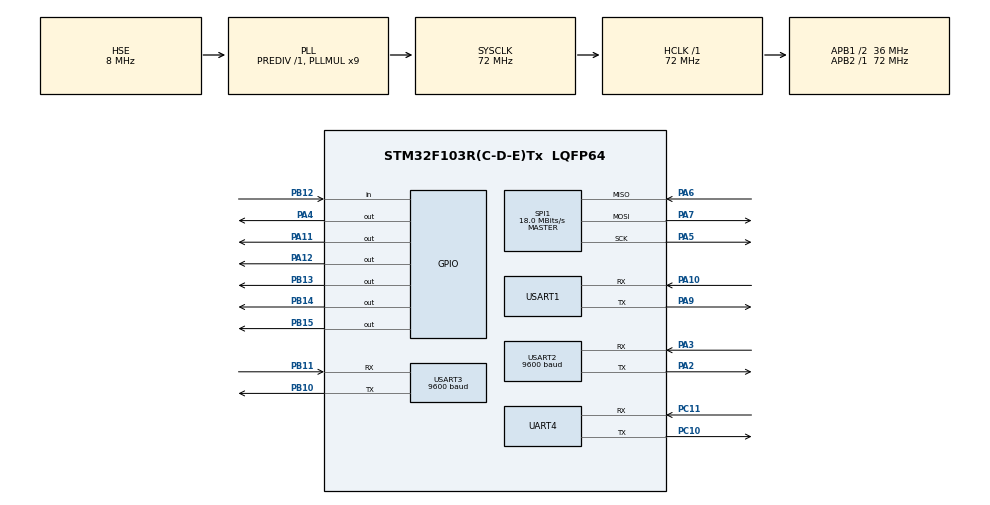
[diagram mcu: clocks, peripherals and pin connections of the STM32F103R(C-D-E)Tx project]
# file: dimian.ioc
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Mcu.Family=STM32F1
Mcu.Name=STM32F103R(C-D-E)Tx
Mcu.Package=LQFP64
NVIC.PriorityGroup=NVIC_PRIORITYGROUP_4
NVIC.TIM2_IRQn=true\:0\:0\:false\:false\:true\:true
NVIC.UART4_IRQn=true\:1\:0\:true\:false\:true\:true
NVIC.USART1_IRQn=true\:1\:0\:true\:false\:true\:true
NVIC.USART2_IRQn=true\:0\:0\:true\:false\:true\:true
NVIC.USART3_IRQn=true\:1\:0\:true\:false\:true\:true
PA10.Mode=Asynchronous
PA10.Signal=USART1_RX
PA11.PinState=GPIO_PIN_SET
PA11.Signal=GPIO_Output
PA12.Signal=GPIO_Output
PA13.Mode=Serial_Wire
PA13.Signal=SYS_JTMS-SWDIO
PA14.Mode=Serial_Wire
PA14.Signal=SYS_JTCK-SWCLK
PA2.Mode=Asynchronous
PA2.Signal=USART2_TX
PA3.Mode=Asynchronous
PA3.Signal=USART2_RX
PA4.Signal=GPIO_Output
PA5.Mode=Full_Duplex_Master
PA5.Signal=SPI1_SCK
PA6.Mode=Full_Duplex_Master
PA6.Signal=SPI1_MISO
PA7.Mode=Full_Duplex_Master
PA7.Signal=SPI1_MOSI
PA9.Mode=Asynchronous
PA9.Signal=USART1_TX
PB10.Mode=Asynchronous
PB10.Signal=USART3_TX
PB11.Mode=Asynchronous
PB11.Signal=USART3_RX
PB12.Signal=GPIO_Input
PB13.Signal=GPIO_Output
PB14.Signal=GPIO_Output
PB15.GPIO_PuPd=GPIO_NOPULL
PB15.PinState=GPIO_PIN_SET
PB15.Signal=GPIO_Output
PC10.Mode=Asynchronous
PC10.Signal=UART4_TX
PC11.Mode=Asynchronous
PC11.Signal=UART4_RX
PD0-OSC_IN.Mode=HSE-External-Oscillator
PD0-OSC_IN.Signal=RCC_OSC_IN
PD1-OSC_OUT.Mode=HSE-External-Oscillator
PD1-OSC_OUT.Signal=RCC_OSC_OUT
ProjectManager.HeapSize=0x200
ProjectManager.StackSize=0x400
ProjectManager.TargetToolchain=EWARM V7
RCC.AHBFreq_Value=72000000
RCC.APB1CLKDivider=RCC_HCLK_DIV2
RCC.APB1Freq_Value=36000000
RCC.APB1TimFreq_Value=72000000
RCC.APB2Freq_Value=72000000
RCC.APB2TimFreq_Value=72000000
RCC.HCLKFreq_Value=72000000
RCC.PLLMUL=RCC_PLL_MUL9
RCC.PLLSourceVirtual=RCC_PLLSOURCE_HSE
RCC.SYSCLKFreq_VALUE=72000000
RCC.SYSCLKSource=RCC_SYSCLKSOURCE_PLLCLK
RCC.USBFreq_Value=72000000
SPI1.BaudRatePrescaler=SPI_BAUDRATEPRESCALER_4
SPI1.CalculateBaudRate=18.0 MBits/s
SPI1.Direction=SPI_DIRECTION_2LINES
SPI1.Mode=SPI_MODE_MASTER
SPI1.VirtualType=VM_MASTER
TIM2.Period=1000-1
TIM2.Prescaler=72-1
UART4.VirtualMode=Asynchronous
USART1.VirtualMode=VM_ASYNC
USART2.BaudRate=9600
USART2.VirtualMode=VM_ASYNC
USART3.BaudRate=9600
USART3.VirtualMode=VM_ASYNC
VP_TIM2_VS_ClockSourceINT.Mode=Internal
board=custom

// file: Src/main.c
/**
  ******************************************************************************
  * @file           : main.c
  * @brief          : Main program body
  ******************************************************************************
  ** This notice applies to any and all portions of this file
  * that are not between comment pairs USER CODE BEGIN and
  * USER CODE END. Other portions of this file, whether
  * inserted by the user or by software development tools
  * are owned by their respective copyright owners.
  *
  * COPYRIGHT(c) 2018 STMicroelectronics
  *
  * Redistribution and use in source and binary forms, with or without modification,
  * are permitted provided that the following conditions are met:
  *   1. Redistributions of source code must retain the above copyright notice,
  *      this list of conditions and the following disclaimer.
  *   2. Redistributions in binary form must reproduce the above copyright notice,
  *      this list of conditions and the following disclaimer in the documentation
  *      and/or other materials provided with the distribution.
  *   3. Neither the name of STMicroelectronics nor the names of its contributors
  *      may be used to endorse or promote products derived from this software
  *      without specific prior written permission.
  *
  * THIS SOFTWARE IS PROVIDED BY THE COPYRIGHT HOLDERS AND CONTRIBUTORS "AS IS"
  * AND ANY EXPRESS OR IMPLIED WARRANTIES, INCLUDING, BUT NOT LIMITED TO, THE
  * IMPLIED WARRANTIES OF MERCHANTABILITY AND FITNESS FOR A PARTICULAR PURPOSE ARE
  * DISCLAIMED. IN NO EVENT SHALL THE COPYRIGHT HOLDER OR CONTRIBUTORS BE LIABLE
  * FOR ANY DIRECT, INDIRECT, INCIDENTAL, SPECIAL, EXEMPLARY, OR CONSEQUENTIAL
  * DAMAGES (INCLUDING, BUT NOT LIMITED TO, PROCUREMENT OF SUBSTITUTE GOODS OR
  * SERVICES; LOSS OF USE, DATA, OR PROFITS; OR BUSINESS INTERRUPTION) HOWEVER
  * CAUSED AND ON ANY THEORY OF LIABILITY, WHETHER IN CONTRACT, STRICT LIABILITY,
  * OR TORT (INCLUDING NEGLIGENCE OR OTHERWISE) ARISING IN ANY WAY OUT OF THE USE
  * OF THIS SOFTWARE, EVEN IF ADVISED OF THE POSSIBILITY OF SUCH DAMAGE.
  *
  ******************************************************************************
  */
#include "main.h"
#include "stm32f1xx_hal.h"
#include "spi.h"
#include "tim.h"
#include "usart.h"
#include "gpio.h"

/* USER CODE BEGIN Includes */
#define u8 uint8_t
#define u16 uint16_t
#define u32 uint32_t
#include "w5500.h"
#include "tcp_demo.h"
#include "w5500_conf.h"
#include "socket.h"
#include "utility.h"
#include "dhcp.h"

/* USER CODE END Includes */

/* USER CODE BEGIN PV */
/* Private variables ---------------------------------------------------------*/

/* USER CODE END PV */

void SystemClock_Config(void);

/* USER CODE BEGIN PFP */
/* Private function prototypes -----------------------------------------------*/

/* USER CODE END PFP */

/* USER CODE BEGIN 0 */
void HM_TRP_Init(void);
void HM_TRP_uart_Init(void);
void HM_TRP_send_Init(void);
void HM_TRP_rank_Init(void);
uint8_t   Com1_Rxbuff[1024];  //串口接收数组
uint16_t  Com1_Counter=0;     //接收计数
uint16_t  Com1_TxCounter=0;   //发送计数
uint8_t   Com2_Rxbuff[1024];  //串口接收数组
uint16_t  Com2_Counter=0;     //接收计数
uint16_t  Com2_TxCounter=0;   //发送计数
uint8_t   Com3_Rxbuff[1024];  //串口接收数组
uint16_t  Com3_Counter=0;     //接收计数
uint16_t  Com3_TxCounter=0;   //发送计数
uint8_t   Com4_Rxbuff[1024];  //串口接收数组
uint16_t  Com4_Counter=0;     //接收计数
uint16_t  Com4_TxCounter=0;   //发送计数
uint8_t aRxStartMessages_1[1];
uint8_t aRxStartMessages_2[1];
uint8_t aRxStartMessages_3[1];
uint8_t aRxStartMessages_4[1];
uint8_t config[]={0xAA,0xFA,0x87};
uint8_t set_uart_speed[]={0xAA,0xFA,0x1E,0x00,0x01,0xC2,0x00};//设置电台串口波特率为38400
uint8_t set_send_speed[]={0xAA,0xFA,0xC3,0x00,0x00,0x25,0x80};//设置无线传输数率为38400
uint8_t set_rank_915[]={0xAA,0xFA,0xD2,0x36,0x89,0xCA,0xC0};//设置工作频率为915000000HZ
uint8_t set_rank_434[]={0xAA,0xFA,0xD2,0x19,0xDE,0x50,0x80};//设置工作频率为434000000HZ
uint8_t read_config[]={0xAA,0xFA,0xE1};
uint8_t reset[]={0xAA,0xFA,0xF0};
/*
int fputc(int ch, FILE *f)
{
	//HAL_UART_Transmit(&huart5, (uint8_t *)&ch, 1, 0xffff);
    while((USART1->SR&0X40)==0);
        USART1->DR = (uint8_t) ch;
	return ch;
}
*/
int fputc(int ch, FILE *f)
{
  HAL_UART_Transmit(&huart1, (uint8_t *)&ch, 1, 0xffff);
  return ch;
}

/* USER CODE END 0 */

int main(void)
{

  /* MCU Configuration----------------------------------------------------------*/

  /* Reset of all peripherals, Initializes the Flash interface and the Systick. */
  HAL_Init();

  /* Configure the system clock */
  SystemClock_Config();

  /* Initialize all configured peripherals */
  MX_GPIO_Init();
  MX_SPI1_Init();
  MX_USART1_UART_Init();
  MX_USART2_UART_Init();
  MX_USART3_UART_Init();
  MX_UART4_Init();
  MX_TIM2_Init();
  /* USER CODE BEGIN 2 */

//  int i=0;
       printf(" W5500网络通信测试 Demo V1.0 \r\n");
        reset_w5500();                     /* W5500硬件复位 */
	set_w5500_mac();										/*配置MAC地址*/
	set_w5500_ip();											/*配置IP地址*/

	socket_buf_init(txsize, rxsize);		/*初始化8个Socket的发送接收缓存大小*/

        printf(" 电脑作为TCP服务器,让W5500作为 TCP客户端去连接 \n");
	printf(" 服务器IP:%d.%d.%d.%d\n",remote_ip[0],remote_ip[1],remote_ip[2],remote_ip[3]);
	printf(" 监听端口:%d \n",remote_port);
	printf(" 连接成功后，服务器发送数据给W5500，W5500将返回对应数据 \n");
	printf(" 应用程序执行中……\n");										/*配置IP地址*/

	socket_buf_init(txsize, rxsize);		/*初始化8个Socket的发送接收缓存大小*/
        HAL_UART_Receive_IT(&huart1 ,(uint8_t*)aRxStartMessages_1,1);  //使能UART接收
        HAL_UART_Receive_IT(&huart2 ,(uint8_t*)aRxStartMessages_1,1);
        HAL_UART_Receive_IT(&huart3 ,(uint8_t*)aRxStartMessages_1,1);
        HAL_UART_Receive_IT(&huart4 ,(uint8_t*)aRxStartMessages_1,1);
        HM_TRP_Init();//电台模块初始化
        //HAL_GPIO_WritePin(GPIOB, GPIO_PIN_15, GPIO_PIN_RESET); //电台2进入配置模式
       // HAL_GPIO_WritePin(GPIOA, GPIO_PIN_11, GPIO_PIN_RESET); //电台1进入配置模式
        int i=0;
  /* USER CODE END 2 */

  /* Infinite loop */
  /* USER CODE BEGIN WHILE */
  while (1)
  {
      do_udp();
    //do_tcp_client();
   //  HAL_UART_Transmit_IT(&huart2 ,read_config,sizeof(read_config));
    // HAL_UART_Transmit_IT(&huart2 ,reset,sizeof(reset));
    //HAL_UART_Transmit_IT(&huart3 ,reset,sizeof(reset));
//       HAL_Delay(2000);
//    if(Com4_Counter>0)
//    {
//      HAL_UART_Transmit_IT(&huart3 ,Com4_Rxbuff,Com4_Counter);
//      memset(Com4_Rxbuff,0,sizeof(Com4_Rxbuff));
//      Com4_Counter = 0;
//    }
//
//     if(Com2_Counter>0)
//     {
//
//       printf("%s",Com2_Rxbuff);
//       memset(Com2_Rxbuff,0,sizeof(Com2_Rxbuff));
//      printf("\r\n");
//      Com2_Counter=0;
//     }
    /*
    HAL_Delay(500);
   HAL_UART_Transmit_IT(&huart3 ,read_config,sizeof(read_config));

    if(Com3_Counter>0)
     {
      for(i=0;i<Com3_Counter;i++)
       printf("%02X ",Com3_Rxbuff[i]);
       memset(Com3_Rxbuff,0,sizeof(Com3_Rxbuff));
      printf("\r\n");
      Com3_Counter=0;
     }
 */
  /* USER CODE END WHILE */

  }

}

void SystemClock_Config(void)
{

  RCC_OscInitTypeDef RCC_OscInitStruct;
  RCC_ClkInitTypeDef RCC_ClkInitStruct;

    /**Initializes the CPU, AHB and APB busses clocks
    */
  RCC_OscInitStruct.OscillatorType = RCC_OSCILLATORTYPE_HSE;
  RCC_OscInitStruct.HSEState = RCC_HSE_ON;
  RCC_OscInitStruct.HSEPredivValue = RCC_HSE_PREDIV_DIV1;
  RCC_OscInitStruct.HSIState = RCC_HSI_ON;
  RCC_OscInitStruct.PLL.PLLState = RCC_PLL_ON;
  RCC_OscInitStruct.PLL.PLLSource = RCC_PLLSOURCE_HSE;
  RCC_OscInitStruct.PLL.PLLMUL = RCC_PLL_MUL9;
  if (HAL_RCC_OscConfig(&RCC_OscInitStruct) != HAL_OK)
  {
    _Error_Handler(__FILE__, __LINE__);
  }

    /**Initializes the CPU, AHB and APB busses clocks
    */
  RCC_ClkInitStruct.ClockType = RCC_CLOCKTYPE_HCLK|RCC_CLOCKTYPE_SYSCLK
                              |RCC_CLOCKTYPE_PCLK1|RCC_CLOCKTYPE_PCLK2;
  RCC_ClkInitStruct.SYSCLKSource = RCC_SYSCLKSOURCE_PLLCLK;
  RCC_ClkInitStruct.AHBCLKDivider = RCC_SYSCLK_DIV1;
  RCC_ClkInitStruct.APB1CLKDivider = RCC_HCLK_DIV2;
  RCC_ClkInitStruct.APB2CLKDivider = RCC_HCLK_DIV1;

  if (HAL_RCC_ClockConfig(&RCC_ClkInitStruct, FLASH_LATENCY_2) != HAL_OK)
  {
    _Error_Handler(__FILE__, __LINE__);
  }

    /**Configure the Systick interrupt time
    */
  HAL_SYSTICK_Config(HAL_RCC_GetHCLKFreq()/1000);

    /**Configure the Systick
    */
  HAL_SYSTICK_CLKSourceConfig(SYSTICK_CLKSOURCE_HCLK);

  /* SysTick_IRQn interrupt configuration */
  HAL_NVIC_SetPriority(SysTick_IRQn, 1, 0);
}

/* USER CODE BEGIN 4 */
/*******************************************************
function:  HAL_UART_RxCpltCallback UART接收回调函数
input parameter:			 串口号
output parameter:			 无
*******************************************************/
void HAL_UART_RxCpltCallback(UART_HandleTypeDef *huart)
{
   UNUSED(huart);

	if(huart == (&huart1))
	{
	  HAL_UART_Receive_IT(&huart1 ,(uint8_t*)aRxStartMessages_1,1);
          Com1_Rxbuff[Com1_Counter++] = aRxStartMessages_1[0];
    if(Com1_Counter==0xffff)
	  {
		 Com1_Counter = 0;
	  }
	}
       if(huart == (&huart2))
	{
	  HAL_UART_Receive_IT(&huart2 ,(uint8_t*)aRxStartMessages_2,1);
          Com2_Rxbuff[Com2_Counter++] = aRxStartMessages_2[0];
    if(Com2_Counter==0xffff)
	  {
		 Com2_Counter = 0;
	  }
	}
        if(huart == (&huart3))
	{
	  HAL_UART_Receive_IT(&huart3 ,(uint8_t*)aRxStartMessages_3,1);
          Com3_Rxbuff[Com3_Counter++] = aRxStartMessages_3[0];
    if(Com3_Counter==0xffff)
	  {
		 Com3_Counter = 0;
	  }
	}
         if(huart == (&huart4))
	{
	  HAL_UART_Receive_IT(&huart4 ,(uint8_t*)aRxStartMessages_4,1);
          Com4_Rxbuff[Com4_Counter++] = aRxStartMessages_4[0];
    if(Com4_Counter==0xffff)
	  {
		 Com4_Counter = 0;
	  }
	}

}

//HM-TRP电台模块参数配置函数
void HM_TRP_uart_Init(void)
{
    HAL_GPIO_WritePin(GPIOB, GPIO_PIN_15, GPIO_PIN_RESET);//config引脚拉低，进入配置模式
    HAL_GPIO_WritePin(GPIOA, GPIO_PIN_11, GPIO_PIN_RESET);
    HAL_Delay(10);
    HAL_UART_Transmit_IT(&huart2 ,set_uart_speed,sizeof(set_uart_speed));//配置电台1串口速率
    HAL_UART_Transmit_IT(&huart3 ,set_uart_speed,sizeof(set_uart_speed));//配置电台2串口速率
    HAL_GPIO_WritePin(GPIOB, GPIO_PIN_15, GPIO_PIN_SET);//config引脚拉高，进入工作模式
    HAL_GPIO_WritePin(GPIOA, GPIO_PIN_11, GPIO_PIN_SET);
}

void HM_TRP_send_Init(void)
{
    HAL_GPIO_WritePin(GPIOB, GPIO_PIN_15, GPIO_PIN_RESET);//config引脚拉低，进入配置模式
    HAL_GPIO_WritePin(GPIOA, GPIO_PIN_11, GPIO_PIN_RESET);
    HAL_Delay(10);
    HAL_UART_Transmit_IT(&huart2 ,set_send_speed,sizeof(set_send_speed));//配置电台1无线传输数率
    HAL_UART_Transmit_IT(&huart3 ,set_send_speed,sizeof(set_send_speed));//配置电台2无线传输数率
    HAL_GPIO_WritePin(GPIOB, GPIO_PIN_15, GPIO_PIN_SET);//config引脚拉高，进入工作模式
    HAL_GPIO_WritePin(GPIOA, GPIO_PIN_11, GPIO_PIN_SET);
}
void HM_TRP_rank_Init(void)
{
    HAL_GPIO_WritePin(GPIOB, GPIO_PIN_15, GPIO_PIN_RESET);//config引脚拉低，进入配置模式
    HAL_GPIO_WritePin(GPIOA, GPIO_PIN_11, GPIO_PIN_RESET);
    HAL_Delay(10);
    HAL_UART_Transmit_IT(&huart2 ,set_rank_915,sizeof(set_rank_915));//2串口接收频段915
    HAL_UART_Transmit_IT(&huart3 ,set_rank_434,sizeof(set_rank_434));//3串口发送频段为434
    HAL_GPIO_WritePin(GPIOB, GPIO_PIN_15, GPIO_PIN_SET);//config引脚拉高，进入工作模式
    HAL_GPIO_WritePin(GPIOA, GPIO_PIN_11, GPIO_PIN_SET);
}
void HM_TRP_Init(void)
{
   HM_TRP_send_Init();
 // HAL_Delay(50);
 // HM_TRP_rank_Init();
  // HM_TRP_uart_Init();
  HAL_Delay(50);

}
/* USER CODE END 4 */

void _Error_Handler(char *file, int line)
{
  while(1)
  {
  }
}

/************************ (C) COPYRIGHT STMicroelectronics *****END OF FILE****/
